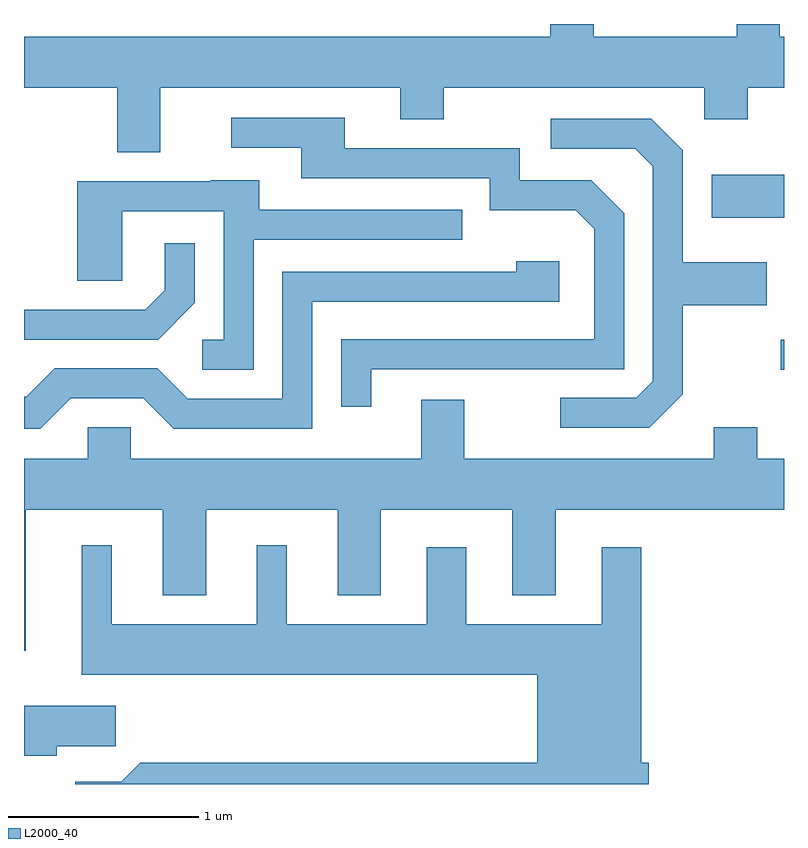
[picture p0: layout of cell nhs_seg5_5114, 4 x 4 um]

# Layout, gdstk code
import gdstk
lib = gdstk.Library(unit=1e-6, precision=1e-09)
def R(c, l, rs):  # rectangles x0, y0, x1, y1
    for r in rs: c.add(gdstk.rectangle(r[:2], r[2:], *l))
def P(c, l, *ps):  # polygons
    for p in ps: c.add(gdstk.Polygon(p, *l))
L2000_40 = (2000, 40)

nhs_seg5_5114 = lib.new_cell('nhs_seg5_5114')
R(nhs_seg5_5114, L2000_40, [(341.593,1404.251,341.611,1404.409), (341.231,1405.051,341.611,1405.279)])
P(nhs_seg5_5114, L2000_40, [(338.329,1405.736),(339.591,1405.736),(339.591,1405.571),(339.819,1405.571),(339.819,1405.736),(341.191,1405.736),(341.191,1405.571),(341.419,1405.571),(341.419,1405.736),(341.611,1405.736),(341.611,1406.004),(341.589,1406.004),(341.589,1406.072),(341.361,1406.072),(341.361,1406.004),(340.609,1406.004),(340.609,1406.072),(340.381,1406.072),(340.381,1406.004),(337.611,1406.004),(337.611,1405.736),(338.101,1405.736),(338.101,1405.396),(338.329,1405.396)],
  [(339.439,1404.256),(340.769,1404.256),(340.769,1405.077),(340.597,1405.249),(340.219,1405.249),(340.219,1405.419),(339.299,1405.419),(339.299,1405.579),(338.703,1405.579),(338.703,1405.421),(339.071,1405.421),(339.071,1405.261),(340.061,1405.261),(340.061,1405.091),(340.514,1405.091),(340.611,1404.994),(340.611,1404.414),(339.281,1404.414),(339.281,1404.058),(339.439,1404.058)],
  [(341.079,1404.124),(341.079,1404.591),(341.519,1404.591),(341.519,1404.819),(341.079,1404.819),(341.079,1405.407),(340.912,1405.574),(340.383,1405.574),(340.383,1405.416),(340.829,1405.416),(340.921,1405.324),(340.921,1404.192),(340.834,1404.104),(340.433,1404.104),(340.433,1403.946),(340.902,1403.946)],
  [(338.819,1404.936),(339.918,1404.936),(339.918,1405.094),(338.849,1405.094),(338.849,1405.249),(338.595,1405.249),(338.595,1405.244),(337.891,1405.244),(337.891,1404.721),(338.129,1404.721),(338.129,1405.086),(338.661,1405.086),(338.661,1404.409),(338.548,1404.409),(338.548,1404.251),(338.819,1404.251)],
  [(338.509,1404.604),(338.509,1404.918),(338.351,1404.918),(338.351,1404.672),(338.249,1404.569),(337.611,1404.569),(337.611,1404.411),(338.317,1404.411)],
  [(337.857,1404.101),(338.239,1404.101),(338.399,1403.941),(339.129,1403.941),(339.129,1404.611),(340.429,1404.611),(340.429,1404.824),(340.201,1404.824),(340.201,1404.769),(338.971,1404.769),(338.971,1404.099),(338.472,1404.099),(338.312,1404.259),(337.774,1404.259),(337.624,1404.109),(337.611,1404.109),(337.611,1403.941),(337.697,1403.941)],
  [(337.619,1403.516),(338.341,1403.516),(338.341,1403.066),(338.569,1403.066),(338.569,1403.516),(339.261,1403.516),(339.261,1403.066),(339.489,1403.066),(339.489,1403.516),(340.181,1403.516),(340.181,1403.066),(340.409,1403.066),(340.409,1403.516),(341.611,1403.516),(341.611,1403.784),(341.469,1403.784),(341.469,1403.949),(341.241,1403.949),(341.241,1403.784),(339.929,1403.784),(339.929,1404.094),(339.701,1404.094),(339.701,1403.784),(338.174,1403.784),(338.174,1403.949),(337.946,1403.949),(337.946,1403.784),(337.611,1403.784),(337.611,1402.773),(337.619,1402.773)],
  [(340.899,1402.184),(340.859,1402.184),(340.859,1403.319),(340.651,1403.319),(340.651,1402.914),(339.939,1402.914),(339.939,1403.319),(339.731,1403.319),(339.731,1402.914),(338.994,1402.914),(338.994,1403.328),(338.836,1403.328),(338.836,1402.914),(338.074,1402.914),(338.074,1403.328),(337.916,1403.328),(337.916,1402.646),(340.311,1402.646),(340.311,1402.184),(338.224,1402.184),(338.124,1402.084),(337.881,1402.084),(337.881,1402.072),(340.899,1402.072)],
  [(337.784,1402.271),(338.094,1402.271),(338.094,1402.484),(337.611,1402.484),(337.611,1402.221),(337.784,1402.221)])

lib.write_gds('nhs_seg5_5114.gds')
